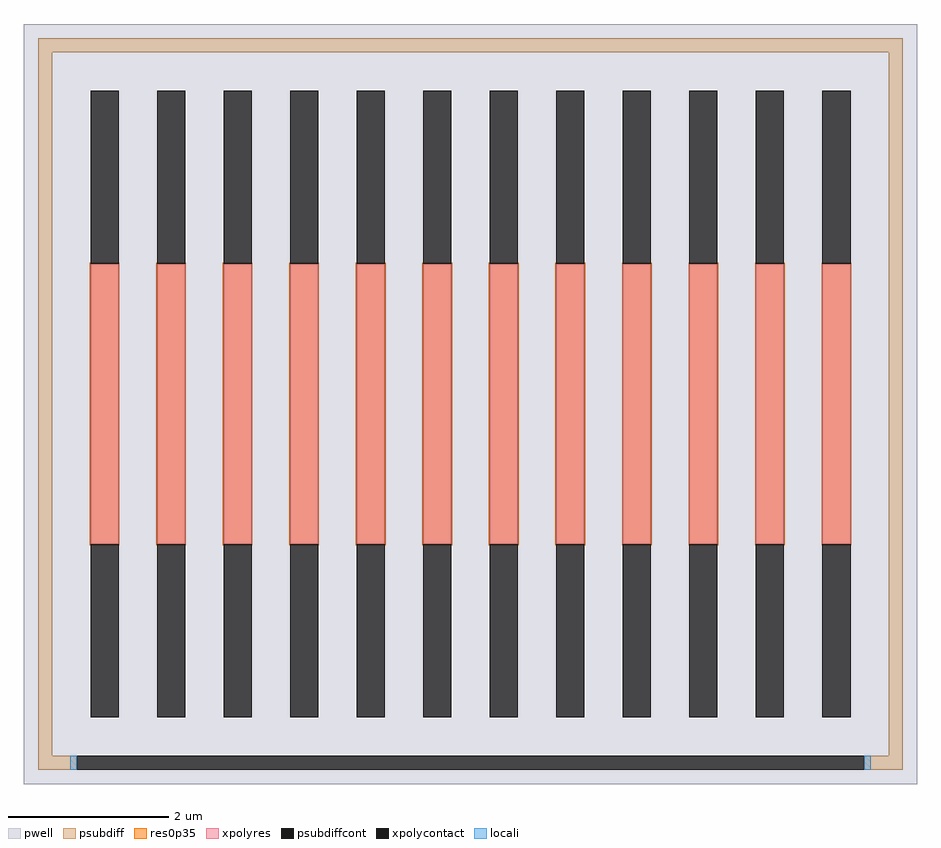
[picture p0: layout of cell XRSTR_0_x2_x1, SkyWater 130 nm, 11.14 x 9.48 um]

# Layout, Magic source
magic
tech sky130A
<< pwell >>
rect -557 -474 557 474
<< psubdiff >>
rect -539 439 539 456
rect -539 -439 -522 439
rect 522 -439 539 439
rect -539 -456 -491 -439
rect 491 -456 539 -439
<< psubdiffcont >>
rect -491 -456 491 -439
<< xpolycontact >>
rect -474 175 -439 391
rect -474 -391 -439 -175
rect -391 175 -356 391
rect -391 -391 -356 -175
rect -308 175 -273 391
rect -308 -391 -273 -175
rect -225 175 -190 391
rect -225 -391 -190 -175
rect -142 175 -107 391
rect -142 -391 -107 -175
rect -59 175 -24 391
rect -59 -391 -24 -175
rect 24 175 59 391
rect 24 -391 59 -175
rect 107 175 142 391
rect 107 -391 142 -175
rect 190 175 225 391
rect 190 -391 225 -175
rect 273 175 308 391
rect 273 -391 308 -175
rect 356 175 391 391
rect 356 -391 391 -175
rect 439 175 474 391
rect 439 -391 474 -175
<< xpolyres >>
rect -474 -175 -439 175
rect -391 -175 -356 175
rect -308 -175 -273 175
rect -225 -175 -190 175
rect -142 -175 -107 175
rect -59 -175 -24 175
rect 24 -175 59 175
rect 107 -175 142 175
rect 190 -175 225 175
rect 273 -175 308 175
rect 356 -175 391 175
rect 439 -175 474 175
<< locali >>
rect -499 -456 -491 -439
rect 491 -456 499 -439
<< res0p35 >>
rect -475 -176 -438 176
rect -392 -176 -355 176
rect -309 -176 -272 176
rect -226 -176 -189 176
rect -143 -176 -106 176
rect -60 -176 -23 176
rect 23 -176 60 176
rect 106 -176 143 176
rect 189 -176 226 176
rect 272 -176 309 176
rect 355 -176 392 176
rect 438 -176 475 176
<< properties >>
string FIXED_BBOX -530 -447 530 447
<< end >>
